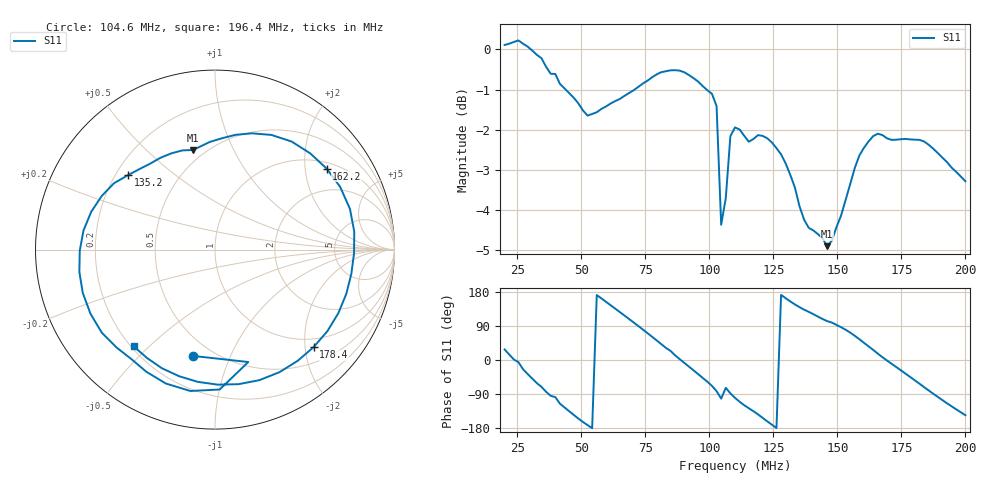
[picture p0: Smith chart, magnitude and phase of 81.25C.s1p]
# HZ S RI R 50
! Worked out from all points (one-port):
!   101 points, 20 MHz to 200 MHz, reference 50 ohm
!   lowest |S11| = -4.9 dB at 146 MHz (marker M1), VSWR 3.64, Z = 21.5 + j35.3 ohm
!   |S11| at or under -10 dB: nowhere
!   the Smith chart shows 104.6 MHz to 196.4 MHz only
!   S11 on the Smith chart (normalised r, x): 104.6 MHz: 0.39, -0.73; 135.2 MHz: 0.25, +0.35; 162.2 MHz: 1.18, +2.60; 178.4 MHz: 0.81, -2.18; 196.4 MHz: 0.21, -0.45
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2e7  0.8959 0.472
2.54e7  1.021 -0.1023
2.72e7  0.9255 -0.4201
3.26e7  0.4764 -0.8614
3.98e7  -0.1288 -0.9231
4.34e7  -0.5148 -0.7311
5.42e7  -0.831 -0.000926
6.5e7  -0.5161 0.6974
7.58e7  0.2985 0.864
8.3e7  0.796 0.4984
8.84e7  0.9402 0.0372
9.38e7  0.818 -0.4229
9.92e7  0.4809 -0.7484
1.028e8  0.1151 -0.8423
1.046e8  -0.125 -0.592
1.064e8  0.1854 -0.6264
1.1e8  -0.1373 -0.7878
1.226e8  -0.7368 -0.2411
1.334e8  -0.5623 0.3702
1.352e8  -0.4843 0.4151
1.46e8  -0.1242 0.5553
1.55e8  0.2057 0.6479
1.622e8  0.6218 0.4514
1.694e8  0.7747 -0.0202
1.784e8  0.5496 -0.5431
1.874e8  0.0153 -0.7524
1.964e8  -0.4538 -0.5384
2e8  -0.5662 -0.3862
